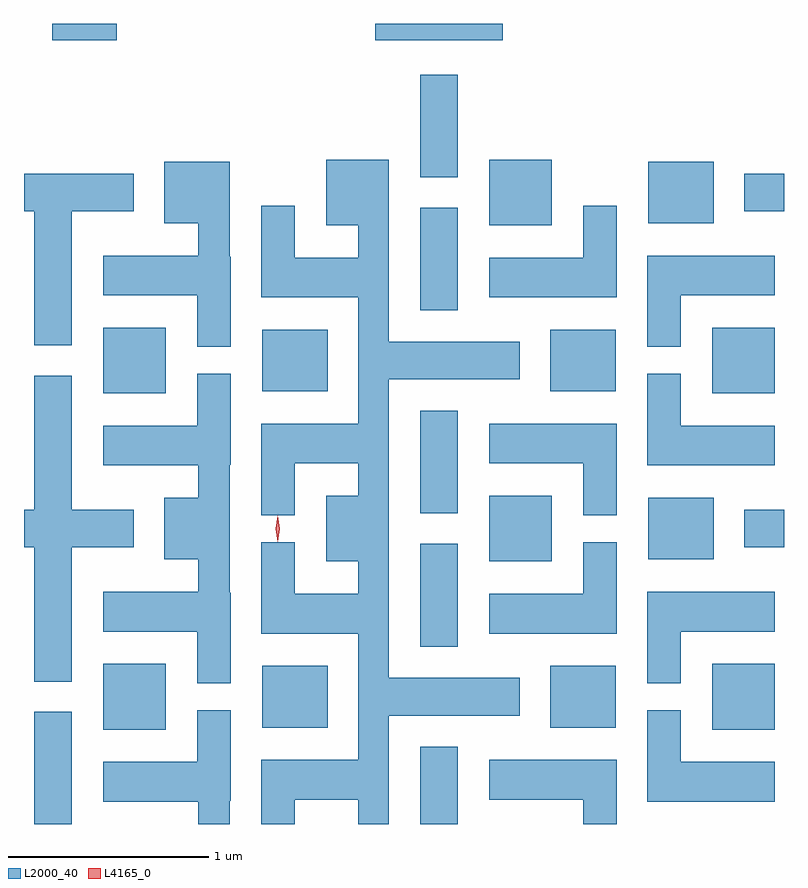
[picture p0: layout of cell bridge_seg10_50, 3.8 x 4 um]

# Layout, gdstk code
import gdstk
lib = gdstk.Library(unit=1e-6, precision=1e-09)
def R(c, l, rs):  # rectangles x0, y0, x1, y1
    for r in rs: c.add(gdstk.rectangle(r[:2], r[2:], *l))
def P(c, l, *ps):  # polygons
    for p in ps: c.add(gdstk.Polygon(p, *l))
L2000_40 = (2000, 40)
L4165_0 = (4165, 0)

bridge_seg10_50 = lib.new_cell('bridge_seg10_50')
R(bridge_seg10_50, L2000_40, [(1623.786,2177.773,1623.974,2178.334), (1625.716,2177.773,1625.904,2178.159), (1624.131,2178.246,1624.444,2178.574), (1627.176,2178.246,1627.489,2178.574), (1624.926,2178.256,1625.254,2178.564), (1626.366,2178.256,1626.694,2178.564), (1625.716,2178.661,1625.904,2179.174), (1626.061,2179.086,1626.374,2179.414), (1626.856,2179.096,1627.184,2179.404), (1627.336,2179.156,1627.534,2179.344), (1625.716,2179.326,1625.904,2179.839), (1624.131,2179.926,1624.444,2180.254), (1627.176,2179.926,1627.489,2180.254), (1624.926,2179.936,1625.254,2180.244), (1626.366,2179.936,1626.694,2180.244), (1625.716,2180.341,1625.904,2180.854), (1626.061,2180.766,1626.374,2181.094), (1626.856,2180.776,1627.184,2181.084), (1627.336,2180.836,1627.534,2181.024), (1625.716,2181.006,1625.904,2181.519), (1623.876,2181.691,1624.199,2181.773), (1625.491,2181.691,1626.129,2181.773)])
P(bridge_seg10_50, L2000_40, [(1625.089,2177.896),(1625.406,2177.896),(1625.406,2177.773),(1625.559,2177.773),(1625.559,2178.316),(1626.214,2178.316),(1626.214,2178.504),(1625.559,2178.504),(1625.559,2179.996),(1626.214,2179.996),(1626.214,2180.184),(1625.559,2180.184),(1625.559,2181.094),(1625.246,2181.094),(1625.246,2180.766),(1625.406,2180.766),(1625.406,2180.604),(1625.089,2180.604),(1625.089,2180.863),(1624.921,2180.863),(1624.921,2180.406),(1625.406,2180.406),(1625.406,2179.774),(1624.921,2179.774),(1624.921,2179.318),(1625.089,2179.318),(1625.089,2179.576),(1625.406,2179.576),(1625.406,2179.414),(1625.246,2179.414),(1625.246,2179.086),(1625.406,2179.086),(1625.406,2178.924),(1625.089,2178.924),(1625.089,2179.183),(1624.921,2179.183),(1624.921,2178.726),(1625.406,2178.726),(1625.406,2178.094),(1624.921,2178.094),(1624.921,2177.773),(1625.089,2177.773)],
  [(1624.769,2180.61),(1624.764,2180.61),(1624.764,2181.084),(1624.436,2181.084),(1624.436,2180.776),(1624.606,2180.776),(1624.606,2180.614),(1624.131,2180.614),(1624.131,2180.416),(1624.601,2180.416),(1624.601,2180.158),(1624.769,2180.158)],
  [(1623.974,2180.836),(1624.284,2180.836),(1624.284,2181.024),(1623.736,2181.024),(1623.736,2180.836),(1623.786,2180.836),(1623.786,2180.166),(1623.974,2180.166)],
  [(1626.699,2180.863),(1626.531,2180.863),(1626.531,2180.604),(1626.061,2180.604),(1626.061,2180.406),(1626.699,2180.406)],
  [(1627.019,2180.416),(1627.489,2180.416),(1627.489,2180.614),(1626.851,2180.614),(1626.851,2180.158),(1627.019,2180.158)],
  [(1624.769,2178.93),(1624.764,2178.93),(1624.764,2179.57),(1624.769,2179.57),(1624.769,2180.023),(1624.601,2180.023),(1624.601,2179.764),(1624.131,2179.764),(1624.131,2179.566),(1624.606,2179.566),(1624.606,2179.404),(1624.436,2179.404),(1624.436,2179.096),(1624.606,2179.096),(1624.606,2178.934),(1624.131,2178.934),(1624.131,2178.736),(1624.601,2178.736),(1624.601,2178.478),(1624.769,2178.478)],
  [(1627.489,2179.764),(1627.019,2179.764),(1627.019,2180.023),(1626.851,2180.023),(1626.851,2179.566),(1627.489,2179.566)],
  [(1623.974,2179.156),(1624.284,2179.156),(1624.284,2179.344),(1623.974,2179.344),(1623.974,2180.014),(1623.786,2180.014),(1623.786,2179.344),(1623.736,2179.344),(1623.736,2179.156),(1623.786,2179.156),(1623.786,2178.486),(1623.974,2178.486)],
  [(1626.699,2179.774),(1626.061,2179.774),(1626.061,2179.576),(1626.531,2179.576),(1626.531,2179.318),(1626.699,2179.318)],
  [(1626.699,2179.183),(1626.531,2179.183),(1626.531,2178.924),(1626.061,2178.924),(1626.061,2178.726),(1626.699,2178.726)],
  [(1627.019,2178.736),(1627.489,2178.736),(1627.489,2178.934),(1626.851,2178.934),(1626.851,2178.478),(1627.019,2178.478)],
  [(1624.764,2177.89),(1624.769,2177.89),(1624.769,2178.343),(1624.601,2178.343),(1624.601,2178.084),(1624.131,2178.084),(1624.131,2177.886),(1624.606,2177.886),(1624.606,2177.773),(1624.764,2177.773)],
  [(1627.489,2178.084),(1627.019,2178.084),(1627.019,2178.343),(1626.851,2178.343),(1626.851,2177.886),(1627.489,2177.886)],
  [(1626.699,2178.094),(1626.061,2178.094),(1626.061,2177.896),(1626.531,2177.896),(1626.531,2177.773),(1626.699,2177.773)])
P(bridge_seg10_50, L4165_0, [(1625.005,2179.184),(1625.004,2179.185),(1624.995,2179.25),(1625.004,2179.315),(1625.005,2179.316),(1625.005,2179.315),(1625.015,2179.25),(1625.005,2179.185)])

lib.write_gds('bridge_seg10_50.gds')
